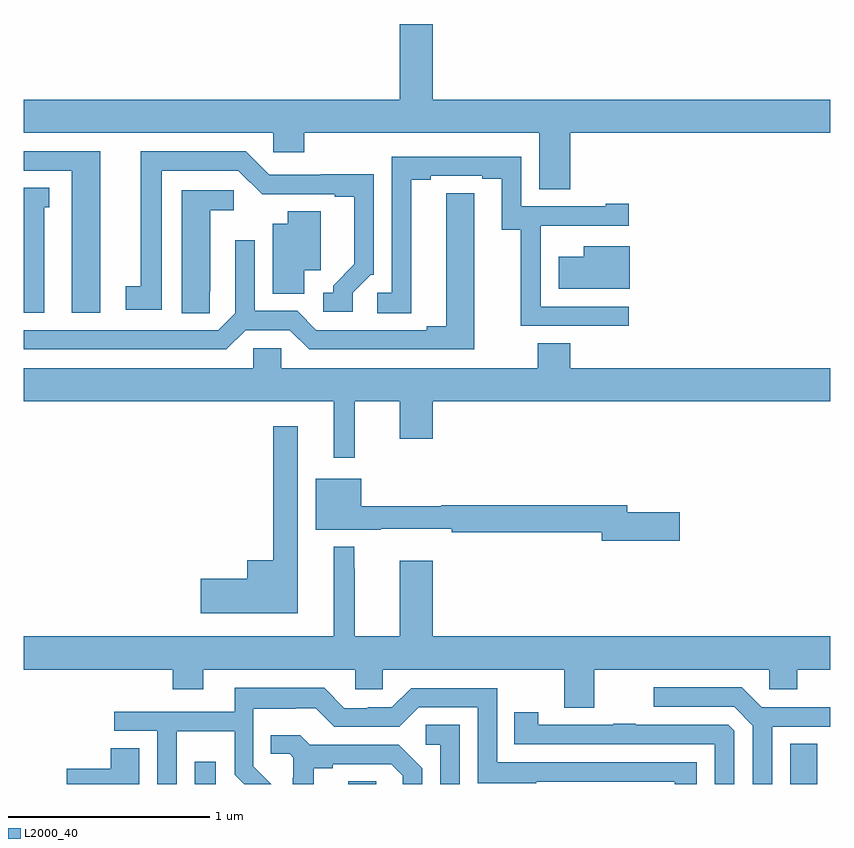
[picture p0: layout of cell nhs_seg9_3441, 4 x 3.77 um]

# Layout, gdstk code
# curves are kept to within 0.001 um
import gdstk
lib = gdstk.Library(unit=1e-6, precision=1e-09)
def R(c, l, rs):  # rectangles x0, y0, x1, y1
    for r in rs: c.add(gdstk.rectangle(r[:2], r[2:], *l))
def P(c, l, *ps):  # polygons
    for p in ps: c.add(gdstk.Polygon(p, *l))
L2000_40 = (2000, 40)

nhs_seg9_3441 = lib.new_cell('nhs_seg9_3441')
R(nhs_seg9_3441, L2000_40, [(307.847,1214.5,307.951,1214.611), (308.609,1214.5,308.748,1214.513), (310.802,1214.5,310.936,1214.699)])
P(nhs_seg9_3441, L2000_40, [(309.71,1217.732),(311,1217.732),(311,1217.896),(309.028,1217.896),(309.028,1218.271),(308.864,1218.271),(308.864,1217.896),(307,1217.896),(307,1217.732),(308.238,1217.732),(308.238,1217.634),(308.39,1217.634),(308.39,1217.732),(309.557,1217.732),(309.557,1217.452),(309.71,1217.452)],
  [(307.378,1217.64),(307,1217.64),(307,1217.544),(307.238,1217.544),(307.238,1216.839),(307.378,1216.839)],
  [(308.631,1216.938),(308.721,1217.028),(308.736,1217.028),(308.736,1217.525),(308.473,1217.525),(308.473,1217.523),(308.217,1217.523),(308.1,1217.64),(307.58,1217.64),(307.58,1216.97),(307.506,1216.97),(307.506,1216.854),(307.684,1216.854),(307.684,1217.544),(308.064,1217.544),(308.182,1217.426),(308.543,1217.427),(308.543,1217.415),(308.639,1217.415),(308.639,1217.078),(308.534,1216.973),(308.534,1216.938),(308.484,1216.938),(308.484,1216.842),(308.631,1216.842)],
  [(310,1216.869),(309.564,1216.869),(309.564,1217.27),(309.566,1217.27),(309.566,1217.271),(310,1217.271),(310,1217.38),(309.887,1217.38),(309.887,1217.367),(309.468,1217.367),(309.468,1217.613),(308.826,1217.613),(308.826,1216.938),(308.754,1216.938),(308.754,1216.837),(308.923,1216.837),(308.923,1217.497),(309.019,1217.497),(309.019,1217.517),(309.275,1217.517),(309.275,1217.502),(309.371,1217.502),(309.371,1217.251),(309.466,1217.251),(309.466,1216.773),(310,1216.773)],
  [(307.102,1217.361),(307.126,1217.361),(307.126,1217.459),(307,1217.459),(307,1216.839),(307.102,1216.839)],
  [(307.923,1216.945),(307.924,1216.945),(307.924,1217.348),(308.041,1217.348),(308.041,1217.445),(307.784,1217.445),(307.784,1216.837),(307.923,1216.837)],
  [(308.101,1216.752),(308.319,1216.752),(308.415,1216.656),(309.235,1216.656),(309.234,1217.432),(309.095,1217.432),(309.095,1216.772),(308.999,1216.772),(308.999,1216.752),(308.451,1216.752),(308.355,1216.848),(308.145,1216.848),(308.145,1217.197),(308.049,1217.197),(308.049,1216.836),(307.965,1216.752),(307,1216.752),(307,1216.656),(308.005,1216.656)],
  [(308.392,1217.048),(308.473,1217.048),(308.473,1217.342),(308.309,1217.342),(308.309,1217.281),(308.234,1217.281),(308.234,1216.933),(308.392,1216.933)],
  [(310.006,1217.167),(309.779,1217.167),(309.779,1217.116),(309.654,1217.116),(309.654,1216.958),(310.006,1216.958)],
  [(308.641,1216.4),(308.864,1216.4),(308.864,1216.212),(309.028,1216.212),(309.028,1216.4),(311,1216.4),(311,1216.564),(309.71,1216.564),(309.71,1216.688),(309.55,1216.688),(309.55,1216.564),(308.277,1216.564),(308.277,1216.662),(308.139,1216.662),(308.139,1216.564),(307,1216.564),(307,1216.4),(308.537,1216.4),(308.537,1216.119),(308.641,1216.119)],
  [(308.359,1216.276),(308.238,1216.276),(308.238,1215.61),(308.108,1215.61),(308.108,1215.518),(307.878,1215.518),(307.878,1215.347),(308.359,1215.347)],
  [(310.255,1215.848),(309.994,1215.848),(309.994,1215.884),(309.07,1215.884),(309.07,1215.877),(308.674,1215.877),(308.674,1216.015),(308.447,1216.015),(308.447,1215.761),(308.77,1215.761),(308.77,1215.767),(309.124,1215.767),(309.124,1215.748),(309.866,1215.748),(309.866,1215.706),(310.255,1215.706)],
  [(309.829,1215.068),(310.698,1215.068),(310.698,1214.97),(310.837,1214.97),(310.837,1215.068),(311,1215.068),(311,1215.232),(309.028,1215.232),(309.028,1215.607),(308.864,1215.607),(308.864,1215.232),(308.641,1215.232),(308.641,1215.569),(308.639,1215.569),(308.639,1215.676),(308.537,1215.676),(308.537,1215.232),(307,1215.232),(307,1215.068),(307.739,1215.068),(307.739,1214.969),(307.891,1214.969),(307.891,1215.068),(308.643,1215.068),(308.643,1214.97),(308.781,1214.97),(308.781,1215.068),(309.682,1215.068),(309.682,1214.878),(309.829,1214.878)],
  [(310.713,1214.784),(311,1214.784),(311,1214.88),(310.66,1214.88),(310.561,1214.979),(310.125,1214.979),(310.125,1214.883),(310.524,1214.883),(310.617,1214.79),(310.617,1214.5),(310.713,1214.5)],
  [(307.758,1214.762),(308.046,1214.762),(308.046,1214.546),(308.092,1214.5),(308.228,1214.5),(308.139,1214.589),(308.139,1214.873),(308.348,1214.873),(308.348,1214.877),(308.448,1214.877),(308.541,1214.784),(308.862,1214.784),(308.958,1214.88),(309.252,1214.88),(309.252,1214.504),(309.543,1214.504),(309.543,1214.511),(309.975,1214.511),(310.23,1214.51),(310.23,1214.5),(310.338,1214.5),(310.338,1214.607),(309.348,1214.607),(309.348,1214.976),(308.922,1214.976),(308.826,1214.88),(308.706,1214.88),(308.706,1214.877),(308.589,1214.877),(308.489,1214.977),(308.045,1214.977),(308.045,1214.859),(307.449,1214.859),(307.449,1214.763),(307.662,1214.763),(307.662,1214.5),(307.758,1214.5)],
  [(310.524,1214.763),(310.494,1214.793),(310.037,1214.793),(310.037,1214.798),(309.925,1214.798),(309.925,1214.793),(309.552,1214.793),(309.552,1214.857),(309.433,1214.857),(309.433,1214.697),(310.428,1214.697),(310.428,1214.5),(310.524,1214.5)],
  [(309.162,1214.795),(308.994,1214.795),(308.994,1214.694),(309.066,1214.694),(309.066,1214.5),(309.162,1214.5)],
  [(308.437,1214.578),(308.533,1214.578),(308.533,1214.598),(308.822,1214.598),(308.879,1214.541),(308.879,1214.5),(308.976,1214.5),(308.976,1214.578),(308.86,1214.694),(308.418,1214.694),(308.37,1214.741),(308.224,1214.741),(308.224,1214.649),(308.319,1214.649),(308.337,1214.631),(308.337,1214.531),(308.333,1214.531),(308.333,1214.5),(308.437,1214.5)],
  [(307.573,1214.678),(307.43,1214.678),(307.43,1214.576),(307.212,1214.576),(307.212,1214.5),(307.573,1214.5)])

lib.write_gds('nhs_seg9_3441.gds')
